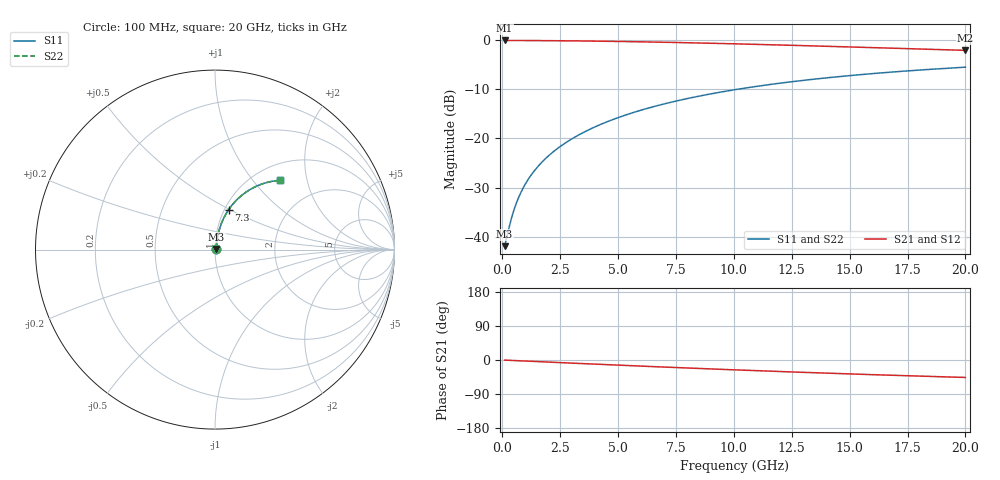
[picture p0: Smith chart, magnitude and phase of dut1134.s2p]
! Touchstone file exported from HFSS 2024.1.0
!  File:  C:/UserFiles/LocalFiles/RDL_TSV_Batchsim/temp_RDL_top_1134_1780047550.aedt
!  Generated:  05:41:23 PM May 29, 2026
!  Design:  RDL_top
!  Project:  temp_RDL_top_1134_1780047550
!  Setup:  Setup1
!  Solution:  Sweep
! Variables:
!  dtsv = 10.80580581um
!  hbump = 3um
!  htsv = 73.16um
!  ldown = 100um
!  lrdl = 552.63um
!  p = 40
!  p1 = 55.59um
!  rhole = 1um
!  t = 450um
!  tdown = 3.915915916um
!  trdl = 2.29um
!  wdown = 15.38538539um
!  wrdl = 11.9um
# GHz S MA R 50.000000
! Terminal data exported
! Port[1] = Box2_T1
! Port[2] = Box2_T2
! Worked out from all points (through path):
!   200 points, 100 MHz to 20 GHz, reference 50 ohm
!   highest |S21| = -0.06 dB at 100 MHz (marker M1); lowest = -2.1 dB at 20 GHz (marker M2)
!   group delay of S21, straight-line fit = 6.41 ps
!   lowest |S11| = -41.9 dB at 100 MHz (marker M3), VSWR 1.02, Z = 50.7 + j0.345 ohm
!   |S11| at or under -10 dB: start of sweep to 10.15 GHz
!   |S22| runs from -41.9 to -5.5 dB; largest |S21 - S12| = 4e-15
!   S11 on the Smith chart (normalised r, x): 100 MHz: 1.01, +0.01; 7.3 GHz: 1.05, +0.49; 20 GHz: 1.30, +1.39
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0.1  0.008017 25.1  0.9927 -0.3  0.9927 -0.3  0.008017 25.1
! Gamma 0 0 0 0
! Port Impedance 50 0 50 0
0.3  0.01262 53.7  0.9926 -0.9  0.9926 -0.9  0.01262 53.7
0.4  0.01554 60.5  0.9924 -1.1  0.9924 -1.1  0.01554 60.5
0.6  0.02175 68.1  0.992 -1.7  0.992 -1.7  0.02175 68.1
0.7  0.02492 70.4  0.9918 -2.0  0.9918 -2.0  0.02492 70.4
0.9  0.03132 73.3  0.9913 -2.5  0.9913 -2.5  0.03132 73.3
1.2  0.04094 75.8  0.9906 -3.4  0.9906 -3.4  0.04094 75.8
1.4  0.04737 76.8  0.99 -3.9  0.99 -3.9  0.04737 76.8
1.7  0.05702 77.7  0.989 -4.7  0.989 -4.7  0.05702 77.7
2.2  0.07312 78.3  0.9872 -6.1  0.9872 -6.1  0.07312 78.3
2.8  0.09246 78.3  0.9845 -7.7  0.9845 -7.7  0.09246 78.3
3.5  0.115 77.7  0.9807 -9.6  0.9807 -9.6  0.115 77.7
4.2  0.1374 76.8  0.9761 -11.5  0.9761 -11.5  0.1374 76.8
5  0.1628 75.6  0.9702 -13.6  0.9702 -13.6  0.1628 75.6
5.9  0.1911 74.0  0.9625 -15.9  0.9625 -15.9  0.191 73.9
6.8  0.2188 72.2  0.954 -18.2  0.954 -18.2  0.2188 72.2
7.3  0.234 71.2  0.9489 -19.4  0.9489 -19.4  0.234 71.2
8.6  0.2725 68.6  0.9347 -22.6  0.9347 -22.6  0.2724 68.5
10.1  0.3149 65.5  0.9168 -26.2  0.9168 -26.2  0.3148 65.4
13.4  0.3994 58.7  0.8743 -33.5  0.8743 -33.5  0.3993 58.7
16.7  0.4712 52.5  0.8302 -40.1  0.8302 -40.1  0.471 52.4
20  0.5307 46.7  0.7871 -46.0  0.7871 -46.0  0.5305 46.7
